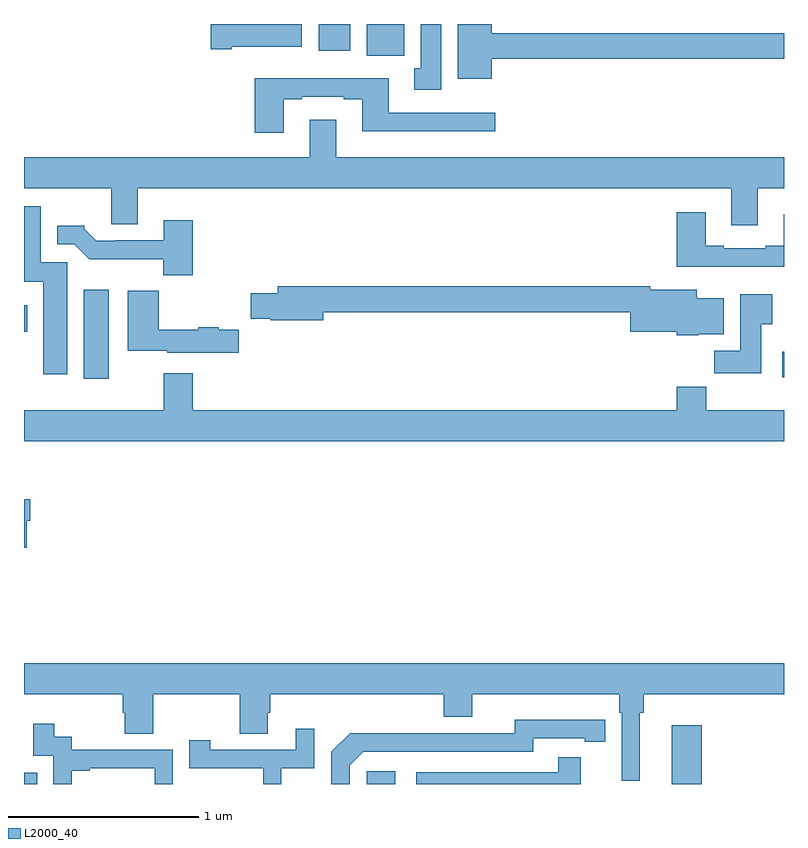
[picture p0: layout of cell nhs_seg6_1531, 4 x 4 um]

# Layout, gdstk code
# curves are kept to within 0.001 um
import gdstk
lib = gdstk.Library(unit=1e-6, precision=1e-09)
def R(c, l, rs):  # rectangles x0, y0, x1, y1
    for r in rs: c.add(gdstk.rectangle(r[:2], r[2:], *l))
def P(c, l, *ps):  # polygons
    for p in ps: c.add(gdstk.Polygon(p, *l))
L2000_40 = (2000, 40)

nhs_seg6_1531 = lib.new_cell('nhs_seg6_1531')
R(nhs_seg6_1531, L2000_40, [(203,977.5,203.069,977.559), (204.804,977.5,204.955,977.566), (206.408,977.5,206.567,977.809), (203.315,979.632,203.446,980.101), (206.991,979.64,207,979.774), (203,979.88,203.017,980.02), (204.803,981.332,205,981.5), (204.551,981.36,204.718,981.5)])
P(nhs_seg6_1531, L2000_40, [(204.094,981.38),(204.463,981.38),(204.463,981.5),(203.982,981.5),(203.982,981.368),(204.094,981.368)],
  [(205.195,981.5),(205.088,981.5),(205.088,981.266),(205.055,981.266),(205.055,981.153),(205.195,981.153)],
  [(205.462,981.316),(207,981.316),(207,981.452),(205.462,981.452),(205.462,981.5),(205.283,981.5),(205.283,981.212),(205.462,981.212)],
  [(204.367,981.105),(204.463,981.105),(204.463,981.117),(204.683,981.117),(204.683,981.105),(204.779,981.105),(204.779,980.936),(205.48,980.936),(205.48,981.033),(204.919,981.033),(204.919,981.214),(204.215,981.214),(204.215,980.928),(204.367,980.928)],
  [(206.863,980.636),(207,980.636),(207,980.8),(204.643,980.8),(204.643,980.995),(204.503,980.995),(204.503,980.8),(203,980.8),(203,980.636),(203.459,980.636),(203.459,980.446),(203.599,980.446),(203.599,980.636),(206.723,980.636),(206.723,980.442),(206.863,980.442)],
  [(203.227,980.247),(203.089,980.247),(203.089,980.542),(203,980.542),(203,980.144),(203.102,980.144),(203.102,979.656),(203.227,979.656)],
  [(207,980.5),(206.999,980.5),(206.999,980.332),(206.903,980.332),(206.903,980.319),(206.683,980.319),(206.683,980.332),(206.587,980.332),(206.587,980.509),(206.435,980.509),(206.435,980.222),(207,980.222)],
  [(203.888,980.467),(203.735,980.467),(203.735,980.361),(203.479,980.361),(203.479,980.358),(203.38,980.358),(203.316,980.422),(203.316,980.437),(203.174,980.437),(203.174,980.34),(203.265,980.34),(203.344,980.262),(203.733,980.262),(203.733,980.177),(203.888,980.177)],
  [(206.55,979.868),(206.683,979.868),(206.683,980.056),(206.542,980.056),(206.542,980.101),(206.296,980.101),(206.296,980.12),(204.335,980.12),(204.335,980.084),(204.193,980.084),(204.193,979.95),(204.298,979.95),(204.298,979.942),(204.574,979.942),(204.574,979.984),(206.192,979.984),(206.192,979.88),(206.436,979.88),(206.436,979.862),(206.55,979.862)],
  [(204.131,979.892),(204.026,979.892),(204.026,979.904),(203.916,979.904),(203.916,979.891),(203.708,979.891),(203.708,980.095),(203.546,980.095),(203.546,979.781),(203.754,979.781),(203.754,979.769),(204.131,979.769)],
  [(206.881,979.921),(206.938,979.921),(206.938,980.077),(206.771,980.077),(206.771,979.78),(206.632,979.78),(206.632,979.662),(206.881,979.662)],
  [(207,979.468),(206.591,979.468),(206.591,979.592),(206.435,979.592),(206.435,979.468),(203.888,979.468),(203.888,979.663),(203.735,979.663),(203.735,979.468),(203,979.468),(203,979.304),(207,979.304)],
  [(203.015,978.885),(203.033,978.885),(203.033,978.999),(203,978.999),(203,978.744),(203.015,978.744)],
  [(206.242,977.876),(206.261,977.876),(206.261,977.972),(207,977.972),(207,978.136),(203,978.136),(203,977.972),(203.519,977.972),(203.519,977.874),(203.531,977.874),(203.531,977.764),(203.679,977.764),(203.679,977.972),(204.136,977.972),(204.136,977.764),(204.283,977.764),(204.283,977.874),(204.296,977.874),(204.296,977.972),(205.208,977.972),(205.208,977.855),(205.36,977.855),(205.36,977.972),(206.132,977.972),(206.132,977.876),(206.145,977.876),(206.145,977.517),(206.242,977.517)],
  [(204.714,977.598),(204.786,977.67),(205.68,977.67),(205.68,977.742),(205.952,977.742),(205.952,977.722),(206.06,977.722),(206.06,977.838),(205.584,977.839),(205.584,977.766),(205.124,977.766),(205.124,977.768),(204.716,977.768),(204.618,977.67),(204.618,977.5),(204.714,977.5)],
  [(203.252,977.571),(203.347,977.571),(203.347,977.583),(203.688,977.583),(203.688,977.5),(203.784,977.5),(203.784,977.679),(203.25,977.679),(203.25,977.748),(203.158,977.748),(203.158,977.818),(203.049,977.818),(203.049,977.649),(203.154,977.649),(203.154,977.5),(203.252,977.5)],
  [(204.354,977.583),(204.528,977.583),(204.528,977.791),(204.431,977.791),(204.431,977.679),(203.98,977.679),(203.98,977.731),(203.869,977.731),(203.869,977.583),(204.258,977.583),(204.258,977.5),(204.354,977.5)],
  [(205.931,977.641),(205.813,977.641),(205.813,977.562),(205.065,977.562),(205.065,977.5),(205.931,977.5)])

lib.write_gds('nhs_seg6_1531.gds')
